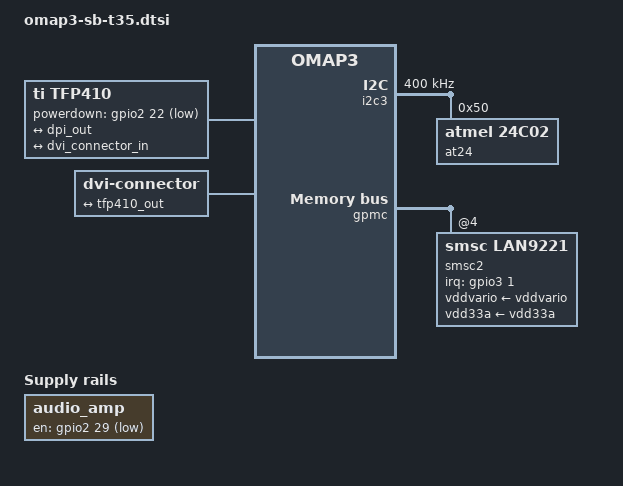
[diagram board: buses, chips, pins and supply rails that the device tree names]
/*
 * Common support for CompuLab SB-T35 used on SBC-T3530, SBC-T3517 and SBC-T3730
 */

/ {
	tfp410: encoder {
		compatible = "ti,tfp410";

		powerdown-gpios = <&gpio2 22 GPIO_ACTIVE_LOW>;  /* gpio_54 */

		pinctrl-names = "default";
		pinctrl-0 = <&tfp410_pins>;

		ports {
			#address-cells = <1>;
			#size-cells = <0>;

			port@0 {
				reg = <0>;

				tfp410_in: endpoint {
					remote-endpoint = <&dpi_out>;
				};
			};

			port@1 {
				reg = <1>;

				tfp410_out: endpoint {
					remote-endpoint = <&dvi_connector_in>;
				};
			};
		};
	};

	dvi0: connector {
		compatible = "dvi-connector";
		label = "dvi";

		port {
			dvi_connector_in: endpoint {
				remote-endpoint = <&tfp410_out>;
			};
		};
	};

	audio_amp: audio_amp {
		compatible = "regulator-fixed";
		regulator-name = "audio_amp";
		pinctrl-names = "default";
		pinctrl-0 = <&sb_t35_audio_amp>;
		gpio = <&gpio2 29 GPIO_ACTIVE_LOW>;   /* gpio_61 */
		regulator-always-on;
	};
};

&omap3_pmx_core {
	smsc2_pins: pinmux_smsc2_pins {
		pinctrl-single,pins = <
			OMAP3_CORE1_IOPAD(0x20b6, PIN_OUTPUT | MUX_MODE0)	/* gpmc_ncs4.gpmc_ncs4 */
			OMAP3_CORE1_IOPAD(0x20d2, PIN_INPUT_PULLUP | MUX_MODE4)	/* gpmc_wait3.gpio_65 */
		>;
	};

	tfp410_pins: pinmux_tfp410_pins {
		pinctrl-single,pins = <
			OMAP3_CORE1_IOPAD(0x20b4, PIN_OUTPUT | MUX_MODE4)	/* gpmc_ncs3.gpio_54 */
		>;
	};

	i2c3_pins: pinmux_i2c3_pins {
		pinctrl-single,pins = <
			OMAP3_CORE1_IOPAD(0x21c2, PIN_INPUT_PULLUP | MUX_MODE0) /* i2c3_scl */
			OMAP3_CORE1_IOPAD(0x21c4, PIN_INPUT_PULLUP | MUX_MODE0) /* i2c3_sda */
		>;
	};

	sb_t35_audio_amp: pinmux_sb_t35_audio_amp {
		pinctrl-single,pins = <
			OMAP3_CORE1_IOPAD(0x20c8, PIN_OUTPUT | MUX_MODE4) /* gpmc_nbe1.gpio_61 */
		>;
	};
};

&i2c3 {
	pinctrl-names = "default";
	pinctrl-0 = <&i2c3_pins>;

	clock-frequency = <400000>;

	at24@50 {
		compatible = "atmel,24c02";
		pagesize = <16>;
		reg = <0x50>;
	};
};

&gpmc {
	ranges = <4 0 0x2d000000 0x01000000>;

	smsc2: ethernet@4,0 {
		compatible = "smsc,lan9221", "smsc,lan9115";
		pinctrl-names = "default";
		pinctrl-0 = <&smsc2_pins>;
		interrupt-parent = <&gpio3>;
		interrupts = <1 IRQ_TYPE_LEVEL_LOW>;
		reg = <4 0 0xff>;
		bank-width = <2>;
		gpmc,device-width = <1>;
		gpmc,cycle2cycle-samecsen = <1>;
		gpmc,cycle2cycle-diffcsen = <1>;
		gpmc,cs-on-ns = <5>;
		gpmc,cs-rd-off-ns = <150>;
		gpmc,cs-wr-off-ns = <150>;
		gpmc,adv-on-ns = <0>;
		gpmc,adv-rd-off-ns = <15>;
		gpmc,adv-wr-off-ns = <40>;
		gpmc,oe-on-ns = <45>;
		gpmc,oe-off-ns = <140>;
		gpmc,we-on-ns = <45>;
		gpmc,we-off-ns = <140>;
		gpmc,rd-cycle-ns = <155>;
		gpmc,wr-cycle-ns = <155>;
		gpmc,access-ns = <120>;
		gpmc,page-burst-access-ns = <20>;
		gpmc,bus-turnaround-ns = <75>;
		gpmc,cycle2cycle-delay-ns = <75>;
		gpmc,wait-monitoring-ns = <0>;
		gpmc,clk-activation-ns = <0>;
		gpmc,wr-data-mux-bus-ns = <0>;
		gpmc,wr-access-ns = <0>;
		vddvario-supply = <&vddvario>;
		vdd33a-supply = <&vdd33a>;
		reg-io-width = <4>;
		smsc,save-mac-address;
	};
};
